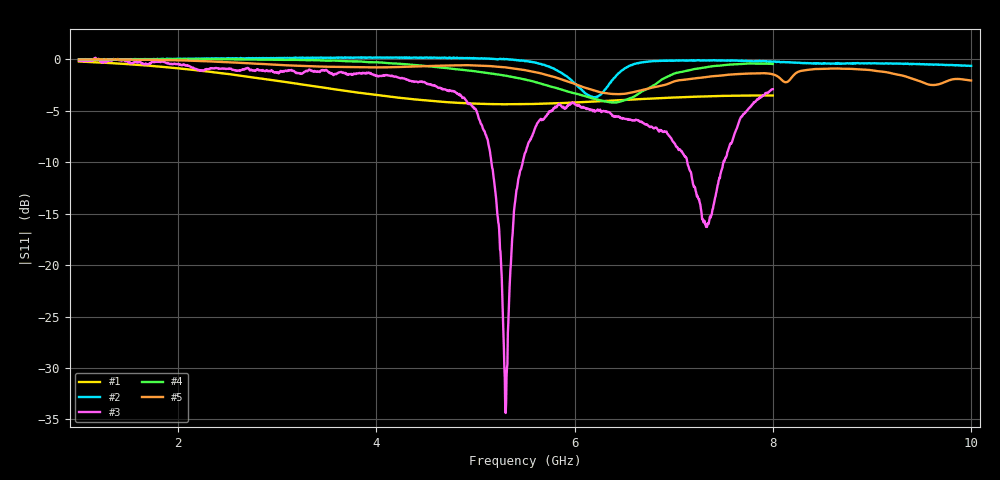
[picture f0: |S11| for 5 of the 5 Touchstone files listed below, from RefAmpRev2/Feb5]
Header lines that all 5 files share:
# GHz S MA R 50
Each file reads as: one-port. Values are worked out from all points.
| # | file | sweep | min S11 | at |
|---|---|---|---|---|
| 1 | colector.s1p | 1 GHz to 8 GHz | -4.4 dB | 5.37 GHz |
| 2 | milledBoardCutStub.s1p | 1 GHz to 10 GHz | -3.7 dB | 6.192 GHz |
| 3 | nopower.s1p | 1 GHz to 8 GHz | -34.4 dB | 5.305 GHz |
| 4 | stub_removed_delay.s1p | 1 GHz to 8 GHz | -4.2 dB | 6.403 GHz |
| 5 | TestRF.s1p | 1 GHz to 10 GHz | -3.4 dB | 6.434 GHz |
